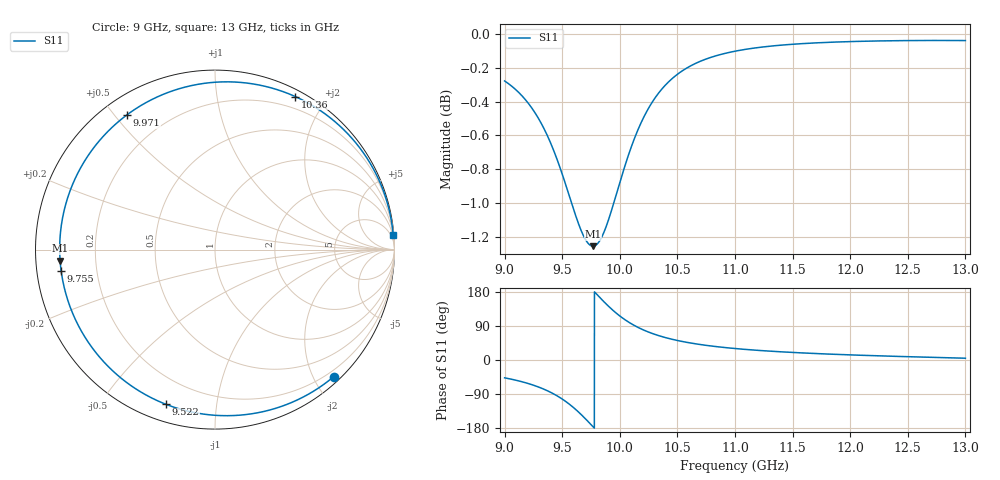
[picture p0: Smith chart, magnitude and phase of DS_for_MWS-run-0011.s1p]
! TOUCHSTONE file generated by CST DESIGN STUDIO
! Date and time: Tue Feb  4 17:17:06 2025
! Project name: C:\Work\MatlabApps\UnitCellOptimizationMatlab\CST\unitcell.cst
! Tree item: Tasks\Sweep1\SPara1\S-Parameters
! Header version: 2024
! Port assignment regex: !\s*Touchstone port\s*([0-9]+)\s*=\s*(CST MWS port|CST DES external port|CST DES block port)\s*(.+)\s* \(\"(.*)\"\)(\s*mode\s*([0-9]+))?.*
! Touchstone port assignment:
! Touchstone port 1 = CST DES external port 1 ("")
# GHz S MA R 50
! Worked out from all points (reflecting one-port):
!   4001 points, 9 GHz to 13 GHz, reference 50 ohm
!   lowest |S11| = -1.3 dB at 9.767 GHz (marker M1), VSWR 13.84, Z = 3.62 - j1.77 ohm
!   phase of S11 starts at -47 deg and turns -308 deg over the sweep
!   S11 on the Smith chart (normalised r, x): 9 GHz: 0.10, -2.30; 9.522 GHz: 0.08, -0.73; 9.755 GHz: 0.07, -0.07; 9.971 GHz: 0.07, +0.54; 10.36 GHz: 0.07, +1.65; 13 GHz: 1, +24
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9  0.9687 -47.0
9.142  0.9596 -56.7
9.272  0.9469 -68.8
9.338  0.9382 -76.6
9.402  0.928 -85.7
9.5  0.909 -103.0
9.522  0.9042 -107.6
9.58  0.8914 -120.9
9.635  0.8799 -135.4
9.699  0.8695 -154.3
9.755  0.8654 -172.0
9.767  0.8652 -175.9
9.811  0.8671 169.8
9.857  0.8727 155.3
9.915  0.8838 138.1
9.971  0.8967 123.2
10  0.9037 116.2
10.066  0.9189 102.0
10.142  0.9341 88.5
10.247  0.9505 74.0
10.359  0.9628 62.3
10.5  0.9731 51.5
10.717  0.9824 40.0
11  0.9886 30.3
11.5  0.9933 19.9
12  0.9951 13.5
12.5  0.9958 8.7
13  0.9958 4.7
